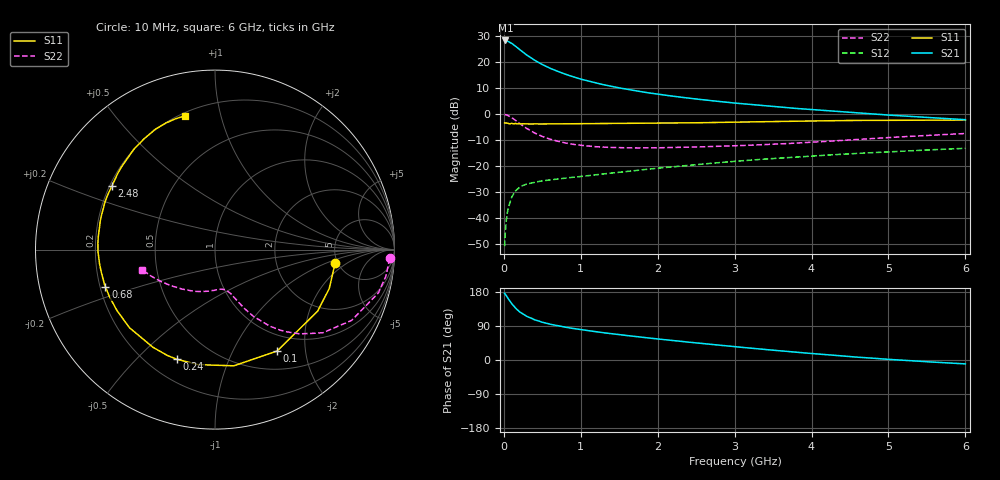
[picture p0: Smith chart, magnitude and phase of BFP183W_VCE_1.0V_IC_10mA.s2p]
! Infineon Technologies  Discrete & RF Semiconductors
! BFP183W
! VCE = 1.0 V,  IC =  10 mA
! Common Emitter S-Parameters:  Jan 2016
# GHz  S  MA  R  50
!  f  S11  S21  S12  S22
! GHz  MAG  ANG  MAG  ANG  MAG  ANG  MAG  ANG
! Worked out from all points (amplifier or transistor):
!   210 points, 10 MHz to 6 GHz, reference 50 ohm
!   highest |S21| = 28.2 dB at 20 MHz (marker M1)
!   |S21| within 3 dB of that: start of sweep to 184.7 MHz
!   unconditionally stable (mu >= 1): 1.202 GHz to end of sweep
!   at 185 MHz: K = 0.24, MSG = 26.9 dB, |S12| = -28.7 dB
!   at 1.52 GHz: K = 1.11, MAG = 14.1 dB, |S12| = -22.3 dB
!   at 6 GHz: K = 1.04, MAG = 4.3 dB, |S12| = -13.2 dB
!   S11 on the Smith chart (normalised r, x): 10 MHz: 4.76, -1.29; 100 MHz: 0.75, -1.51; 240 MHz: 0.32, -0.66; 680 MHz: 0.22, -0.16; 2.48 GHz: 0.21, +0.27; 6 GHz: 0.22, +0.78
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0.01  0.6734 -6.3  25.64 176.0  0.0029 86.0  0.9749 -2.9
0.02  0.6695 -12.6  25.68 173.4  0.0056 82.7  0.9674 -6.0
0.03  0.6723 -18.8  25.61 170.2  0.0085 80.0  0.9636 -8.9
0.05  0.6669 -30.9  24.97 163.6  0.0138 76.0  0.9419 -14.8
0.1  0.6626 -58.5  22.74 149.2  0.0248 64.4  0.8572 -27.4
0.15  0.6559 -80.8  20.06 137.1  0.0332 55.2  0.7584 -37.7
0.2  0.6479 -98.4  17.43 127.8  0.0386 48.9  0.665 -44.9
0.24  0.6466 -109.1  15.7 122.4  0.0418 44.9  0.6027 -49.3
0.3  0.6448 -122.4  13.41 114.9  0.0452 41.1  0.5228 -54.5
0.4  0.6454 -137.6  10.73 106.1  0.049 37.0  0.4304 -60.0
0.5  0.6432 -148.2  8.869 99.6  0.0519 35.7  0.3696 -63.3
0.6  0.6439 -156.1  7.525 94.5  0.0542 35.4  0.3276 -65.6
0.68  0.6445 -161.2  6.747 91.2  0.0559 35.6  0.3042 -67.0
0.8  0.6456 -167.8  5.764 86.5  0.0586 36.2  0.277 -69.0
1.02  0.6494 -176.4  4.572 79.7  0.0634 38.0  0.2483 -72.0
1.4  0.6547 171.8  3.375 69.4  0.0733 40.7  0.2276 -77.3
2.02  0.6669 157.2  2.372 55.1  0.0914 43.6  0.2242 -87.6
2.48  0.6756 148.1  1.949 45.5  0.1057 43.9  0.2311 -96.4
3.1  0.698 136.9  1.569 33.3  0.1263 42.7  0.2476 -109.6
4.1  0.7353 121.4  1.185 15.6  0.1587 38.7  0.2923 -132.4
5.1  0.757 110.3  0.931 0.5  0.1902 33.4  0.3588 -151.7
6  0.7642 102.5  0.776 -10.3  0.2188 28.5  0.4208 -164.6
